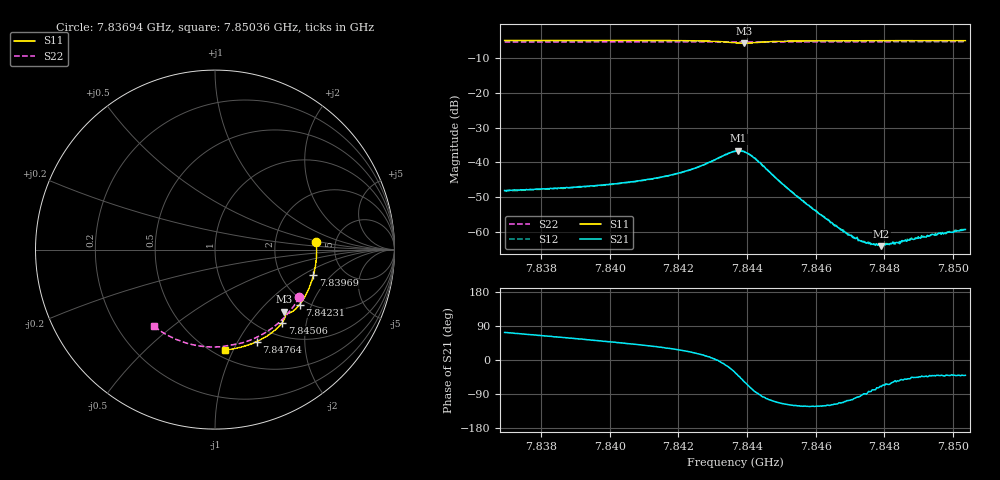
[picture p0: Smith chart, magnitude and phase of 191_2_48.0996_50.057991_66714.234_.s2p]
#  HZ  S  RI  R  50.00
! Rohde & Schwarz Vector Network Analyzer
! Rohde-Schwarz,ZNB20-2Port,1311601062101988,3.16
! Created: UTC 12/23/2023, 3:53:45 AM
! freq[Hz]  re:S11  im:S11  re:S21  im:S21  re:S12  im:S12  re:S22  im:S22
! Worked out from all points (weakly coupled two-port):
!   401 points, 7.83694 GHz to 7.85036 GHz, reference 50 ohm
!   highest |S21| = -36.63 dB at 7.84375 GHz (marker M1); lowest = -64.1 dB at 7.84791 GHz (marker M2)
!   lowest |S11| = -5.7 dB at 7.84392 GHz (marker M3), VSWR 3.14, Z = 73.5 - j69.2 ohm
!   |S11| at or under -10 dB: nowhere
!   |S22| runs from -5.4 to -5.3 dB; largest |S21 - S12| = 0.00036
!   S11 on the Smith chart (normalised r, x): 7.83694 GHz: 3.56, +0.42; 7.83969 GHz: 3.03, -1.27; 7.84231 GHz: 1.84, -1.64; 7.84506 GHz: 1.25, -1.46; 7.84764 GHz: 0.80, -1.20; 7.85036 GHz: 0.57, -0.93
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7.836936e9  0.5647 0.0402  0.00117 0.00376  0.00117 0.0037  0.4693 -0.266
7.839185e9  0.5564 -0.109  0.00255 0.00368  0.00255 0.00362  0.3733 -0.3904
7.839688e9  0.5488 -0.142  0.00296 0.00361  0.00291 0.00358  0.3472 -0.4143
7.840696e9  0.5273 -0.2069  0.00395 0.00352  0.00389 0.00354  0.2905 -0.4562
7.841434e9  0.5057 -0.253  0.00501 0.00339  0.00495 0.00337  0.2455 -0.4822
7.842307e9  0.4719 -0.3059  0.00714 0.00288  0.00711 0.0029  0.1893 -0.507
7.843146e9  0.4232 -0.3491  0.0115 -0.000112  0.0112 -6.56e-05  0.1329 -0.524
7.84365e9  0.3881 -0.3524  0.0121 -0.00783  0.0122 -0.00769  0.0991 -0.5299
7.84375e9  0.3847 -0.3495  0.0109 -0.0099  0.0108 -0.00971  0.0927 -0.5309
7.843918e9  0.3839 -0.3454  0.00769 -0.0121  0.00773 -0.012  0.0822 -0.5327
7.84422e9  0.3915 -0.3515  0.00144 -0.0115  0.00165 -0.0114  0.0627 -0.5364
7.84506e9  0.3752 -0.4063  -0.00205 -0.00432  -0.00205 -0.00433  0.00426 -0.5425
7.845899e9  0.3333 -0.4499  -0.00116 -0.00185  -0.00118 -0.00185  -0.055 -0.5408
7.84694e9  0.2745 -0.4908  -0.000275 -0.000889  -0.000309 -0.00084  -0.1272 -0.5293
7.847309e9  0.2524 -0.5029  -6.1e-05 -0.000738  -7.95e-05 -0.000755  -0.1525 -0.5227
7.847645e9  0.232 -0.5128  0.000126 -0.000651  0.000114 -0.000635  -0.1749 -0.516
7.847913e9  0.2157 -0.5201  0.000211 -0.000586  0.000236 -0.000607  -0.1927 -0.5097
7.848148e9  0.201 -0.5258  0.000288 -0.0006  0.000302 -0.000579  -0.208 -0.5036
7.848584e9  0.1734 -0.5356  0.000471 -0.000574  0.000426 -0.000589  -0.2363 -0.4916
7.848752e9  0.1626 -0.5389  0.000512 -0.0006  0.000515 -0.000554  -0.2468 -0.4863
7.849994e9  0.082 -0.5566  0.000755 -0.000632  0.000772 -0.000649  -0.3212 -0.4415
7.850364e9  0.0577 -0.5594  0.000823 -0.000703  0.000827 -0.000672  -0.342 -0.4258
